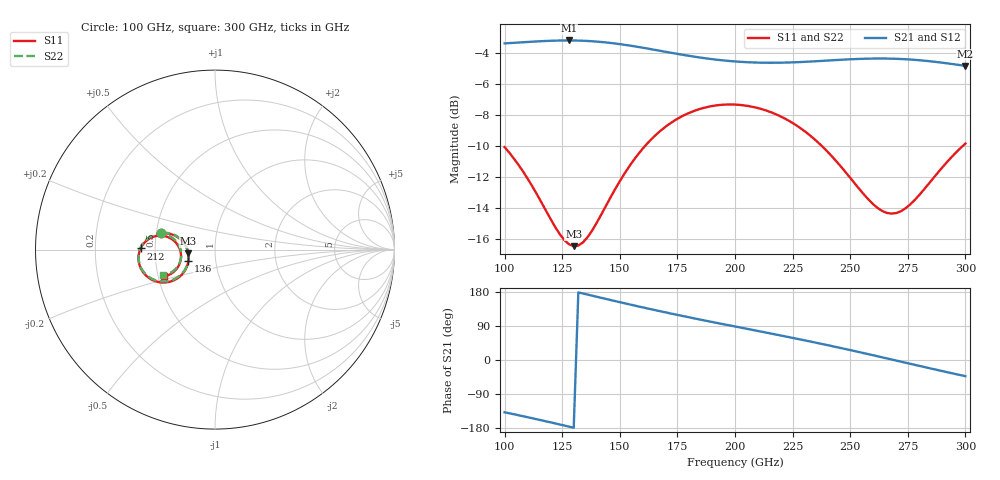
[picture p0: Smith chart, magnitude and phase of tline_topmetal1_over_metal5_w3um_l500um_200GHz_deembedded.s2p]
! Created with skrf 2.0.1 (http://scikit-rf.org).
# GHz S DB R 50.0
!freq dBS11 angS11 dBS21 angS21 dBS12 angS12 dBS22 angS22
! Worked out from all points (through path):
!   101 points, 100 GHz to 300 GHz, reference 50 ohm
!   highest |S21| = -3.21 dB at 128 GHz (marker M1); lowest = -4.8 dB at 300 GHz (marker M2)
!   group delay of S21, straight-line fit = 3.62 ps
!   lowest |S11| = -16.5 dB at 130 GHz (marker M3), VSWR 1.35, Z = 37 - j1.51 ohm
!   |S11| at or under -10 dB: start of sweep to 161 GHz; 237.7 GHz to 298.9 GHz (61.2 GHz wide, 22.8 % of centre)
!   |S22| runs from -16.5 to -7.3 dB; largest |S21 - S12| = 7e-14
!   S11 on the Smith chart (normalised r, x): 100 GHz: 0.53, +0.11; 136 GHz: 0.74, -0.09; 212 GHz: 0.41, +0.01; 300 GHz: 0.54, -0.18
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100  -10.07 163.3  -3.39 -138.0  -3.39 -138.0  -10.09 162.7
116  -13.64 162.6  -3.25 -159.1  -3.25 -159.1  -13.65 161.9
124  -15.69 173.1  -3.21 -170.2  -3.21 -170.2  -15.70 172.4
128  -16.33 -177.7  -3.21 -175.9  -3.21 -175.9  -16.35 -178.4
130  -16.45 -172.4  -3.21 -178.8  -3.21 -178.8  -16.46 -173.1
134  -16.21 -161.8  -3.23 175.5  -3.23 175.5  -16.22 -162.6
136  -15.88 -157.1  -3.24 172.6  -3.24 172.6  -15.89 -157.9
142  -14.40 -147.2  -3.31 164.0  -3.31 164.0  -14.41 -148.0
150  -12.27 -142.6  -3.44 152.6  -3.44 152.6  -12.28 -143.5
160  -10.16 -144.7  -3.68 138.8  -3.68 138.8  -10.17 -145.7
168  -8.98 -149.2  -3.89 128.1  -3.89 128.1  -8.99 -150.2
184  -7.65 -160.5  -4.29 107.8  -4.29 107.8  -7.67 -161.6
200  -7.34 -172.4  -4.56 88.5  -4.56 88.5  -7.36 -173.6
212  -7.65 179.1  -4.64 74.2  -4.64 74.2  -7.67 177.8
224  -8.43 171.7  -4.62 59.6  -4.62 59.6  -8.46 170.2
234  -9.50 166.9  -4.55 47.1  -4.55 47.1  -9.54 165.4
252  -12.42 167.1  -4.41 23.4  -4.41 23.4  -12.49 165.5
262  -14.00 177.2  -4.37 9.7  -4.37 9.7  -14.10 175.6
268  -14.36 -173.2  -4.38 1.3  -4.38 1.3  -14.46 -174.6
274  -14.02 -163.5  -4.42 -7.1  -4.42 -7.1  -14.11 -164.8
282  -12.81 -154.7  -4.51 -18.3  -4.51 -18.3  -12.88 -155.9
300  -9.85 -152.4  -4.85 -42.7  -4.85 -42.7  -9.88 -153.8
